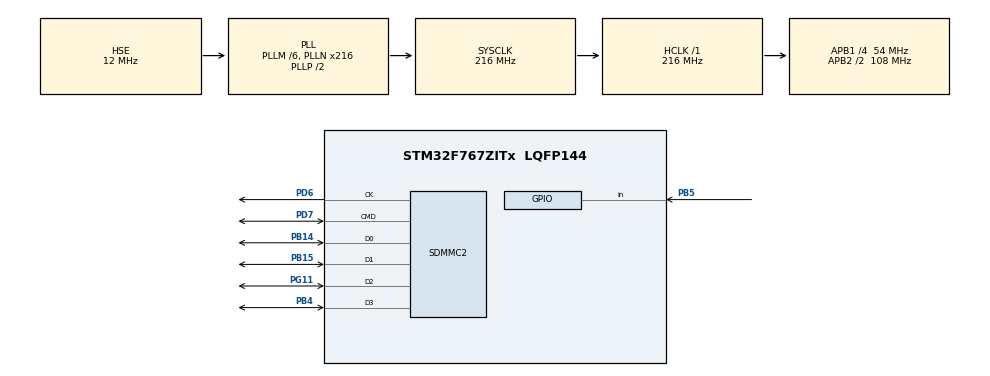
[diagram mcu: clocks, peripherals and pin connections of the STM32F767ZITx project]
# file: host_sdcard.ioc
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FATFS.BSP.number=1
FATFS.USE_DMA_CODE_SD=1
FATFS._USE_LFN=1
FATFS0.BSP.STBoard=false
FATFS0.BSP.api=Unknown
FATFS0.BSP.i2caddr=0
FATFS0.BSP.instance=PB5
FATFS0.BSP.ip=GPIO
FATFS0.BSP.mode=Input
FATFS0.BSP.name=Detect_SDIO
FATFS0.BSP.solution=PB5
Mcu.Family=STM32F7
Mcu.Name=STM32F767ZITx
Mcu.Package=LQFP144
NVIC.PriorityGroup=NVIC_PRIORITYGROUP_4
NVIC.TIM3_IRQn=true\:0\:0\:false\:false\:true\:false\:true
NVIC.TimeBase=TIM3_IRQn
NVIC.TimeBaseIP=TIM3
PA13.Mode=Serial_Wire
PA13.Signal=SYS_JTMS-SWDIO
PA14.Mode=Serial_Wire
PA14.Signal=SYS_JTCK-SWCLK
PB14.GPIO_PuPd=GPIO_PULLUP
PB14.Mode=SD_4_bits_Wide_bus
PB14.Signal=SDMMC2_D0
PB15.GPIO_PuPd=GPIO_PULLUP
PB15.Mode=SD_4_bits_Wide_bus
PB15.Signal=SDMMC2_D1
PB4.GPIO_PuPd=GPIO_PULLUP
PB4.Mode=SD_4_bits_Wide_bus
PB4.Signal=SDMMC2_D3
PB5.Signal=GPIO_Input
PD6.GPIO_PuPd=GPIO_NOPULL
PD6.Mode=SD_4_bits_Wide_bus
PD6.Signal=SDMMC2_CK
PD7.GPIO_PuPd=GPIO_PULLUP
PD7.Mode=SD_4_bits_Wide_bus
PD7.Signal=SDMMC2_CMD
PG11.GPIO_PuPd=GPIO_PULLUP
PG11.Mode=SD_4_bits_Wide_bus
PG11.Signal=SDMMC2_D2
PH0/OSC_IN.Mode=HSE-External-Oscillator
PH0/OSC_IN.Signal=RCC_OSC_IN
PH1/OSC_OUT.Mode=HSE-External-Oscillator
PH1/OSC_OUT.Signal=RCC_OSC_OUT
ProjectManager.HeapSize=0x400
ProjectManager.StackSize=0x800
ProjectManager.TargetToolchain=STM32CubeIDE
RCC.AHBFreq_Value=216000000
RCC.APB1CLKDivider=RCC_HCLK_DIV4
RCC.APB1Freq_Value=54000000
RCC.APB1TimFreq_Value=108000000
RCC.APB2CLKDivider=RCC_HCLK_DIV2
RCC.APB2Freq_Value=108000000
RCC.APB2TimFreq_Value=216000000
RCC.CortexFreq_Value=216000000
RCC.HCLKFreq_Value=216000000
RCC.HSE_VALUE=12000000
RCC.HSI_VALUE=16000000
RCC.LSE_VALUE=32768
RCC.PLL48CLockSelection=RCC_CLK48SOURCE_PLLSAIP
RCC.PLLM=6
RCC.PLLN=216
RCC.PLLQ=9
RCC.PLLSAIN=96
RCC.PLLSAIP=RCC_PLLSAIP_DIV8
RCC.PLLSourceVirtual=RCC_PLLSOURCE_HSE
RCC.SDMMC2ClockSelection=RCC_SDMMC2CLKSOURCE_CLK48
RCC.SYSCLKFreq_VALUE=216000000
RCC.SYSCLKSource=RCC_SYSCLKSOURCE_PLLCLK
RCC.USBFreq_Value=24000000
RCC.VCOOutputFreq_Value=432000000
VP_FATFS_VS_SDIO.Mode=SDIO
VP_SYS_VS_tim3.Mode=TIM3
board=custom

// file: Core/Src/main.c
/* USER CODE BEGIN Header */
/**
  ******************************************************************************
  * @file           : main.c
  * @brief          : Main program body
  ******************************************************************************
  * @attention
  *
  * <h2><center>&copy; Copyright (c) 2022 STMicroelectronics.
  * All rights reserved.</center></h2>
  *
  * This software component is licensed by ST under BSD 3-Clause license,
  * the "License"; You may not use this file except in compliance with the
  * License. You may obtain a copy of the License at:
  *                        opensource.org/licenses/BSD-3-Clause
  *
  ******************************************************************************
  */
/* USER CODE END Header */
#include "main.h"
#include "fatfs.h"

SD_HandleTypeDef hsd2;

void SystemClock_Config(void);
static void MX_GPIO_Init(void);
static void MX_SDMMC2_SD_Init(void);

int main(void)
{
  /* USER CODE BEGIN 1 */
	FRESULT res; /* FatFs function common result code */
	uint32_t byteswritten, bytesread; /* File write/read counts */
	uint8_t wtext[] = "STM32 FATFS works great!"; /* File write buffer */
	uint8_t rtext[_MAX_SS];/* File read buffer */
	uint8_t testCMDVar = 0, testVar = 0; uint16_t delayVar = 2500;
  /* USER CODE END 1 */

  /* MCU Configuration--------------------------------------------------------*/

  /* Reset of all peripherals, Initializes the Flash interface and the Systick. */
  HAL_Init();

  /* Configure the system clock */
  SystemClock_Config();

  /* Initialize all configured peripherals */
  MX_GPIO_Init();
  MX_SDMMC2_SD_Init();
  MX_FATFS_Init();
  /* USER CODE BEGIN 2 */
  if(f_mount(&SDFatFS, (TCHAR const*)SDPath, 0) != FR_OK)
    {
        Error_Handler();
    }
    else
    {
    	//myCode by osm////
    	//if(f_open(&SDFile, "STM32.TXT", FA_CREATE_NEW | FA_WRITE) != FR_OK)
    	//{
    	//	Error_Handler();
    	//}
    	///////////////////
        /*if(f_mkfs((TCHAR const*)SDPath, FM_ANY, 0, rtext, sizeof(rtext)) != FR_OK)
        {
            Error_Handler();
        }
        else*/
        {
        	/*there exist these files:
        	 * LCLDEBUG.LOG  /  LOG.CFG  /  VersionInfo.txt*/
            /*//Open file for writing (Create)
            if(f_open(&SDFile, "STM32.TXT", FA_CREATE_ALWAYS | FA_WRITE) != FR_OK)
            {
                Error_Handler();
            }
            else
            {

                //Write to the text file
                res = f_write(&SDFile, wtext, strlen((char *)wtext), (void *)&byteswritten);
                if((byteswritten == 0) || (res != FR_OK))
                {
                    Error_Handler();
                }
                else
                {
                    f_close(&SDFile);
                }
            }
            */
        }
    }
    //f_mount(&SDFatFS, (TCHAR const*)NULL, 0);
  /* USER CODE END 2 */

  /* Infinite loop */
  while (1)
  {

    /* USER CODE BEGIN 3 */
	testVar = BSP_SD_IsDetected();
	HAL_Delay(delayVar);
  	switch(testCMDVar * testVar)
  	{
  	case 1:
  		res = f_open(&SDFile, "LCLDEBUG.LOG", /*FA_OPEN_EXISTING	|*/ FA_READ);
  		if(res != FR_OK)
		{
			;//Error_Handler();
		}break;
  	case 2:
  		res = f_open(&SDFile, "VersionInfo.txt", /*FA_OPEN_EXISTING	|*/ FA_READ);
  		if(res != FR_OK)
		{
			;//Error_Handler();
		}break;
  	case 3:
  		res = f_open(&SDFile, "LOG.CFG", /*FA_OPEN_EXISTING	|*/ FA_READ);
  		if(res != FR_OK)
		{
			;//Error_Handler();
		}break;
  	case 4:
  		f_mount(&SDFatFS, (TCHAR const*)NULL, 0);
  		break;
		default: break;
  	}
  	f_close(&SDFile);
  	testCMDVar = 2;
  }
  /* USER CODE END 3 */
}

void SystemClock_Config(void)
{
  RCC_OscInitTypeDef RCC_OscInitStruct = {0};
  RCC_ClkInitTypeDef RCC_ClkInitStruct = {0};
  RCC_PeriphCLKInitTypeDef PeriphClkInitStruct = {0};

  /** Configure the main internal regulator output voltage
  */
  __HAL_RCC_PWR_CLK_ENABLE();
  __HAL_PWR_VOLTAGESCALING_CONFIG(PWR_REGULATOR_VOLTAGE_SCALE1);
  /** Initializes the RCC Oscillators according to the specified parameters
  * in the RCC_OscInitTypeDef structure.
  */
  RCC_OscInitStruct.OscillatorType = RCC_OSCILLATORTYPE_HSE;
  RCC_OscInitStruct.HSEState = RCC_HSE_ON;
  RCC_OscInitStruct.PLL.PLLState = RCC_PLL_ON;
  RCC_OscInitStruct.PLL.PLLSource = RCC_PLLSOURCE_HSE;
  RCC_OscInitStruct.PLL.PLLM = 6;
  RCC_OscInitStruct.PLL.PLLN = 216;
  RCC_OscInitStruct.PLL.PLLP = RCC_PLLP_DIV2;
  RCC_OscInitStruct.PLL.PLLQ = 9;
  if (HAL_RCC_OscConfig(&RCC_OscInitStruct) != HAL_OK)
  {
    Error_Handler();
  }
  /** Activate the Over-Drive mode
  */
  if (HAL_PWREx_EnableOverDrive() != HAL_OK)
  {
    Error_Handler();
  }
  /** Initializes the CPU, AHB and APB buses clocks
  */
  RCC_ClkInitStruct.ClockType = RCC_CLOCKTYPE_HCLK|RCC_CLOCKTYPE_SYSCLK
                              |RCC_CLOCKTYPE_PCLK1|RCC_CLOCKTYPE_PCLK2;
  RCC_ClkInitStruct.SYSCLKSource = RCC_SYSCLKSOURCE_PLLCLK;
  RCC_ClkInitStruct.AHBCLKDivider = RCC_SYSCLK_DIV1;
  RCC_ClkInitStruct.APB1CLKDivider = RCC_HCLK_DIV4;
  RCC_ClkInitStruct.APB2CLKDivider = RCC_HCLK_DIV2;

  if (HAL_RCC_ClockConfig(&RCC_ClkInitStruct, FLASH_LATENCY_7) != HAL_OK)
  {
    Error_Handler();
  }
  PeriphClkInitStruct.PeriphClockSelection = RCC_PERIPHCLK_SDMMC2|RCC_PERIPHCLK_CLK48;
  PeriphClkInitStruct.PLLSAI.PLLSAIN = 96;
  PeriphClkInitStruct.PLLSAI.PLLSAIR = 2;
  PeriphClkInitStruct.PLLSAI.PLLSAIQ = 2;
  PeriphClkInitStruct.PLLSAI.PLLSAIP = RCC_PLLSAIP_DIV8;
  PeriphClkInitStruct.PLLSAIDivQ = 1;
  PeriphClkInitStruct.PLLSAIDivR = RCC_PLLSAIDIVR_2;
  PeriphClkInitStruct.Clk48ClockSelection = RCC_CLK48SOURCE_PLLSAIP;
  PeriphClkInitStruct.Sdmmc2ClockSelection = RCC_SDMMC2CLKSOURCE_CLK48;
  if (HAL_RCCEx_PeriphCLKConfig(&PeriphClkInitStruct) != HAL_OK)
  {
    Error_Handler();
  }
}

static void MX_SDMMC2_SD_Init(void)
{

  hsd2.Instance = SDMMC2;
  hsd2.Init.ClockEdge = SDMMC_CLOCK_EDGE_RISING;
  hsd2.Init.ClockBypass = SDMMC_CLOCK_BYPASS_DISABLE;
  hsd2.Init.ClockPowerSave = SDMMC_CLOCK_POWER_SAVE_DISABLE;
  hsd2.Init.BusWide = SDMMC_BUS_WIDE_1B;
  hsd2.Init.HardwareFlowControl = SDMMC_HARDWARE_FLOW_CONTROL_DISABLE;
  hsd2.Init.ClockDiv = 0;

}

static void MX_GPIO_Init(void)
{
  GPIO_InitTypeDef GPIO_InitStruct = {0};

  /* GPIO Ports Clock Enable */
  __HAL_RCC_GPIOH_CLK_ENABLE();
  __HAL_RCC_GPIOB_CLK_ENABLE();
  __HAL_RCC_GPIOA_CLK_ENABLE();
  __HAL_RCC_GPIOD_CLK_ENABLE();
  __HAL_RCC_GPIOG_CLK_ENABLE();

  /*Configure GPIO pin : PB5 */
  GPIO_InitStruct.Pin = GPIO_PIN_5;
  GPIO_InitStruct.Mode = GPIO_MODE_INPUT;
  GPIO_InitStruct.Pull = GPIO_NOPULL;
  HAL_GPIO_Init(GPIOB, &GPIO_InitStruct);

}

 /**
  * @brief  Period elapsed callback in non blocking mode
  * @note   This function is called  when TIM3 interrupt took place, inside
  * HAL_TIM_IRQHandler(). It makes a direct call to HAL_IncTick() to increment
  * a global variable "uwTick" used as application time base.
  * @param  htim : TIM handle
  * @retval None
  */
void HAL_TIM_PeriodElapsedCallback(TIM_HandleTypeDef *htim)
{
  if (htim->Instance == TIM3) {
    HAL_IncTick();
  }
}

void Error_Handler(void)
{
  __disable_irq();
  while (1)
  {
  }
}

/************************ (C) COPYRIGHT STMicroelectronics *****END OF FILE****/
